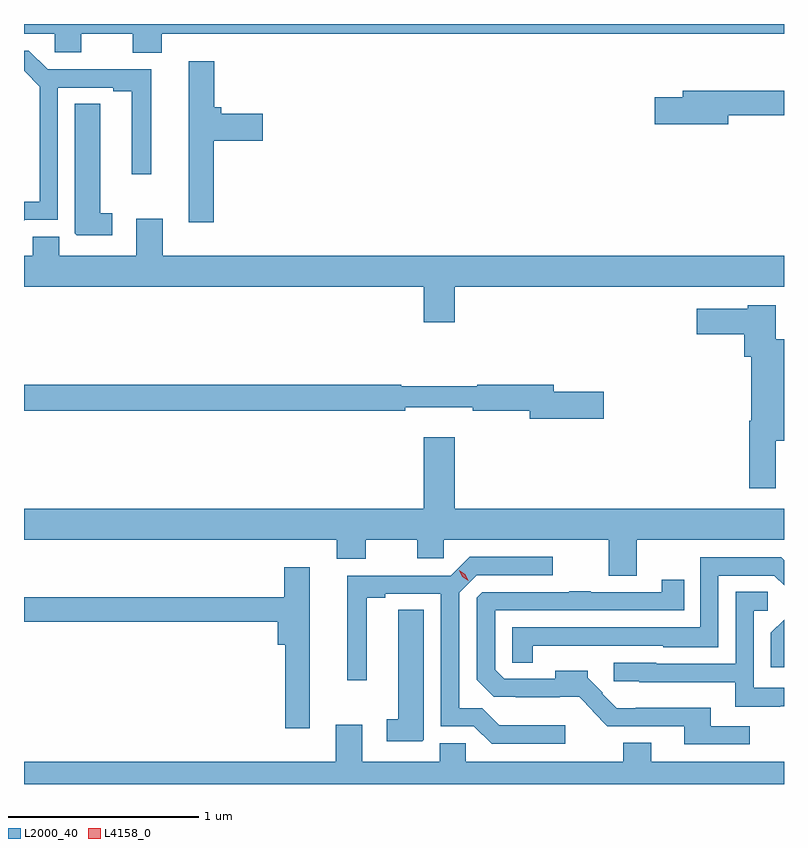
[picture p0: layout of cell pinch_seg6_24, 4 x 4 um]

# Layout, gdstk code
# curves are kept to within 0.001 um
import gdstk
lib = gdstk.Library(unit=1e-6, precision=1e-09)
def P(c, l, *ps):  # polygons
    for p in ps: c.add(gdstk.Polygon(p, *l))
L2000_40 = (2000, 40)
L4158_0 = (4158, 0)

pinch_seg6_24 = lib.new_cell('pinch_seg6_24')
P(pinch_seg6_24, L2000_40, [(954.839,983.3),(958.113,983.3),(958.113,983.351),(954.113,983.351),(954.113,983.3),(954.276,983.3),(954.276,983.202),(954.415,983.202),(954.415,983.3),(954.686,983.3),(954.686,983.201),(954.839,983.201)],
  [(954.117,982.32),(954.291,982.32),(954.291,983.016),(954.584,983.016),(954.584,982.996),(954.68,982.996),(954.68,982.56),(954.784,982.56),(954.784,983.112),(954.238,983.112),(954.139,983.211),(954.113,983.211),(954.113,983.104),(954.195,983.022),(954.195,982.415),(954.113,982.415),(954.113,982.316)],
  [(955.112,982.736),(955.369,982.736),(955.369,982.878),(955.151,982.878),(955.151,982.914),(955.115,982.914),(955.115,983.155),(954.98,983.155),(954.98,982.308),(955.112,982.308)],
  [(957.82,982.87),(958.113,982.87),(958.113,982.999),(957.581,982.999),(957.581,982.965),(957.432,982.965),(957.432,982.823),(957.82,982.823)],
  [(954.577,982.355),(954.514,982.355),(954.514,982.931),(954.38,982.931),(954.38,982.249),(954.39,982.239),(954.577,982.239)],
  [(956.38,981.968),(958.113,981.968),(958.113,982.132),(954.844,982.132),(954.844,982.327),(954.704,982.327),(954.704,982.132),(954.298,982.132),(954.298,982.23),(954.159,982.23),(954.159,982.132),(954.113,982.132),(954.113,981.968),(956.216,981.968),(956.216,981.78),(956.38,981.78)],
  [(958.069,981.158),(958.113,981.158),(958.113,981.693),(958.069,981.693),(958.069,981.871),(957.921,981.871),(957.921,981.853),(957.654,981.853),(957.654,981.719),(957.905,981.719),(957.905,981.6),(957.941,981.6),(957.941,981.262),(957.929,981.262),(957.929,980.907),(958.069,980.907)],
  [(957.163,981.416),(956.902,981.416),(956.902,981.452),(956.498,981.452),(956.498,981.445),(956.098,981.445),(956.098,981.452),(954.113,981.452),(954.113,981.316),(956.12,981.316),(956.12,981.335),(956.476,981.335),(956.476,981.316),(956.774,981.316),(956.774,981.274),(957.163,981.274)],
  [(957.339,980.636),(958.113,980.636),(958.113,980.8),(956.38,980.8),(956.38,981.175),(956.216,981.175),(956.216,980.8),(954.113,980.8),(954.113,980.636),(955.76,980.636),(955.76,980.537),(955.912,980.537),(955.912,980.636),(956.183,980.636),(956.183,980.538),(956.322,980.538),(956.322,980.636),(957.191,980.636),(957.191,980.446),(957.339,980.446)],
  [(956.962,979.66),(956.615,979.66),(956.524,979.751),(956.403,979.751),(956.403,980.358),(956.496,980.451),(956.896,980.451),(956.896,980.547),(956.459,980.547),(956.36,980.448),(955.814,980.448),(955.814,979.896),(955.918,979.896),(955.918,980.332),(956.014,980.332),(956.014,980.352),(956.307,980.352),(956.307,979.656),(956.481,979.656),(956.574,979.563),(956.962,979.563)],
  [(956.791,980.078),(957.477,980.079),(957.477,980.072),(957.768,980.072),(957.768,980.448),(958.062,980.448),(958.113,980.397),(958.113,980.529),(958.098,980.544),(957.672,980.544),(957.672,980.175),(956.682,980.175),(956.682,979.99),(956.791,979.99)],
  [(955.618,980.491),(955.484,980.491),(955.484,980.335),(954.113,980.335),(954.113,980.206),(955.448,980.206),(955.448,980.084),(955.487,980.084),(955.487,979.644),(955.618,979.644)],
  [(957.934,979.656),(957.727,979.656),(957.727,979.753),(957.334,979.753),(957.334,979.751),(957.233,979.751),(957.156,979.827),(957.159,979.83),(957.08,979.909),(957.08,979.948),(956.909,979.948),(956.909,979.905),(956.64,979.905),(956.592,979.953),(956.592,980.265),(957.587,980.265),(957.587,980.425),(957.469,980.425),(957.469,980.361),(957.095,980.361),(957.095,980.366),(956.983,980.366),(956.983,980.361),(956.526,980.361),(956.496,980.331),(956.496,979.899),(956.585,979.81),(956.701,979.81),(956.701,979.808),(957.035,979.809),(957.109,979.735),(957.107,979.733),(957.183,979.656),(957.587,979.656),(957.587,979.56),(957.934,979.56)],
  [(958.093,979.761),(958.113,979.761),(958.113,979.857),(957.954,979.857),(957.954,980.262),(958.027,980.262),(958.027,980.363),(957.858,980.363),(957.858,979.983),(957.441,979.983),(957.441,979.989),(957.216,979.989),(957.216,979.893),(957.351,979.893),(957.351,979.886),(957.857,979.886),(957.857,979.757),(958.093,979.757)],
  [(956.218,979.585),(956.218,980.267),(956.084,980.267),(956.084,979.691),(956.022,979.691),(956.022,979.575),(956.208,979.575)],
  [(958.113,980.215),(958.044,980.146),(958.044,979.965),(958.113,979.965)],
  [(958.113,979.468),(957.415,979.468),(957.415,979.567),(957.268,979.567),(957.268,979.468),(956.439,979.468),(956.439,979.566),(956.3,979.566),(956.3,979.468),(955.894,979.468),(955.894,979.663),(955.754,979.663),(955.754,979.468),(954.113,979.468),(954.113,979.351),(958.113,979.351)])
P(pinch_seg6_24, L4158_0, [(956.451,980.422),(956.42,980.443),(956.404,980.476),(956.404,980.477),(956.404,980.477),(956.435,980.456),(956.451,980.423),(956.451,980.422)])

lib.write_gds('pinch_seg6_24.gds')
